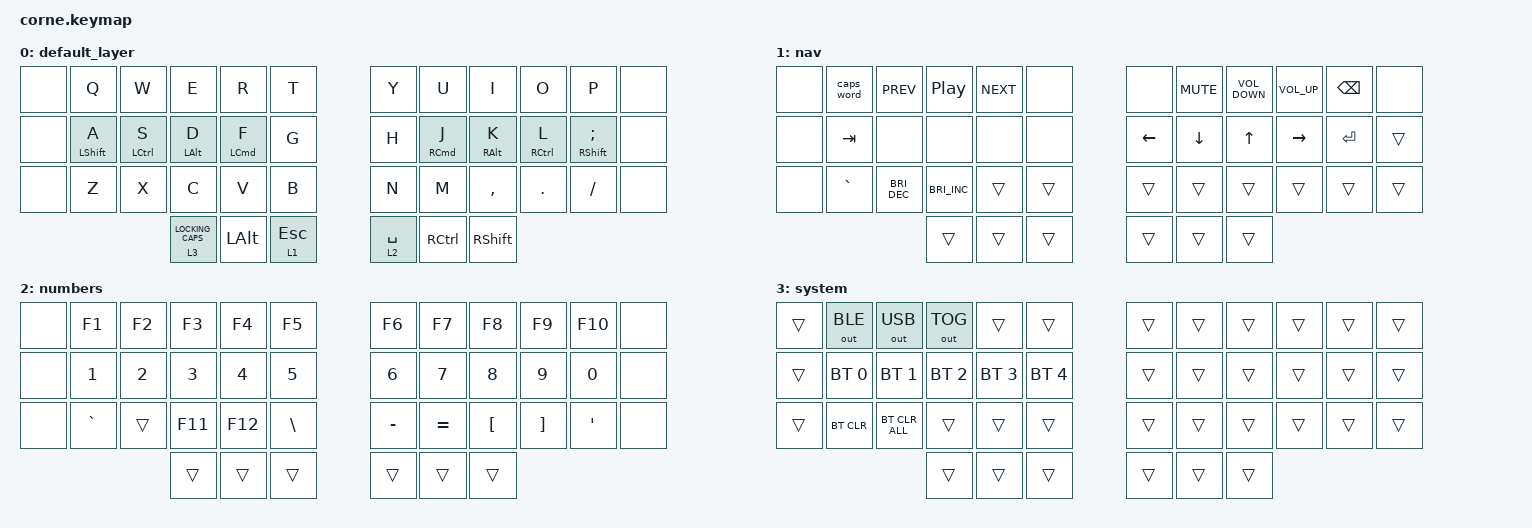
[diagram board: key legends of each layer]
/*
 * Copyright (c) 2020 The ZMK Contributors
 *
 * SPDX-License-Identifier: MIT
 */

#include <behaviors.dtsi>
#include <dt-bindings/zmk/bt.h>
#include <dt-bindings/zmk/keys.h>
#include <dt-bindings/zmk/outputs.h>

/ {
    behaviors {
        homey_left: homey_left {
            compatible = "zmk,behavior-hold-tap";
            label = "HOME_ROW_MODS_LEFT_HAND";
            bindings = <&kp>, <&kp>;

            flavor = "tap-preferred";
            #binding-cells = <2>;
            tapping-term-ms = <270>;
            hold-trigger-on-release;
            quick-tap-ms = <300>;
            require-prior-idle-ms = <170>;
            hold-trigger-key-positions = <39 40 41 32 8 20 6 7 8 9 10 11 18 19 20 21 22 23 30 31 32 33 34 35>;
        };

        homey_right: homey_right {
            compatible = "zmk,behavior-hold-tap";
            label = "HOME_ROW_MODS_RIGHT_HAND";
            bindings = <&kp>, <&kp>;

            flavor = "tap-preferred";
            #binding-cells = <2>;
            tapping-term-ms = <270>;
            hold-trigger-on-release;
            quick-tap-ms = <300>;
            require-prior-idle-ms = <170>;
            hold-trigger-key-positions = <0 1 2 3 4 5 12 13 14 15 16 17 24 25 26 27 28 29 36 37 38>;
        };

        shift_left: shift_left {
            compatible = "zmk,behavior-hold-tap";
            label = "HOME_ROW_MODS_LEFT_SHIFT_SHIFT";
            bindings = <&kp>, <&kp>;

            flavor = "tap-preferred";
            #binding-cells = <2>;
            tapping-term-ms = <200>;
            quick-tap-ms = <300>;
            require-prior-idle-ms = <80>;
            hold-trigger-key-positions = <32 8 20 6 7 8 9 10 11 18 19 20 21 22 23 30 31 32 33 34 35 38 37 36 39 40 41>;
        };

        shift_right: shift_right {
            compatible = "zmk,behavior-hold-tap";
            label = "HOME_ROW_MODS_RIGHT_SHIFT_SHIFT";
            bindings = <&kp>, <&kp>;

            flavor = "tap-preferred";
            #binding-cells = <2>;
            tapping-term-ms = <200>;
            quick-tap-ms = <300>;
            require-prior-idle-ms = <80>;
            hold-trigger-key-positions = <0 1 2 3 4 5 12 13 14 15 16 17 24 25 26 27 28 29 36 37 38 39 40 41>;
        };
    };

    keymap {
        compatible = "zmk,keymap";

        default_layer {
            // -----------------------------------------------------------------------------------------
            // |  TAB |  Q  |  W  |  E  |  R  |  T  |   |  Y  |  U   |  I  |  O  |  P  | BKSP |
            // | CTRL |  A  |  S  |  D  |  F  |  G  |   |  H  |  J   |  K  |  L  |  ;  |  '   |
            // | SHFT |  Z  |  X  |  C  |  V  |  B  |   |  N  |  M   |  ,  |  .  |  /  | ESC  |
            //                    | GUI | LWR | SPC |   | ENT | RSE  | ALT |

            bindings = <
&none  &kp Q                     &kp W                       &kp E                   &kp R                       &kp T           &kp Y        &kp U                         &kp I                     &kp O                         &kp P                               &none
&none  &shift_left LEFT_SHIFT A  &homey_left LEFT_CONTROL S  &homey_left LEFT_ALT D  &homey_left LEFT_COMMAND F  &kp G           &kp H        &homey_right RIGHT_COMMAND J  &homey_right RIGHT_ALT K  &homey_right RIGHT_CONTROL L  &shift_right RIGHT_SHIFT SEMICOLON  &none
&none  &kp Z                     &kp X                       &kp C                   &kp V                       &kp B           &kp N        &kp M                         &kp COMMA                 &kp DOT                       &kp FSLH                            &none
                                                             &lt 3 LOCKING_CAPS      &kp LEFT_ALT                &lt 1 ESCAPE    &lt 2 SPACE  &kp RIGHT_CONTROL             &kp RIGHT_SHIFT
            >;
        };

        nav {
            // -----------------------------------------------------------------------------------------
            // |  TAB |  1  |  2  |  3  |  4  |  5  |   |  6  |  7  |  8  |  9  |  0  | BKSP |
            // | BTCLR| BT1 | BT2 | BT3 | BT4 | BT5 |   | LFT | DWN |  UP | RGT |     |      |
            // | SHFT |     |     |     |     |     |   |     |     |     |     |     |      |
            //                    | GUI |     | SPC |   | ENT |     | ALT |

            bindings = <
&none  &caps_word  &kp C_PREV            &kp C_PLAY_PAUSE      &kp C_NEXT  &none     &none     &kp K_MUTE  &kp C_VOLUME_DOWN  &kp C_VOLUME_UP  &kp BACKSPACE  &none
&none  &kp TAB     &none                 &none                 &none       &none     &kp LEFT  &kp DOWN    &kp UP             &kp RIGHT        &kp ENTER      &trans
&none  &kp GRAVE   &kp C_BRIGHTNESS_DEC  &kp C_BRIGHTNESS_INC  &trans      &trans    &trans    &trans      &trans             &trans           &trans         &trans
                                         &trans                &trans      &trans    &trans    &trans      &trans
            >;
        };

        numbers {
            // -----------------------------------------------------------------------------------------
            // |  TAB |  !  |  @  |  #  |  $  |  %  |   |  ^  |  &  |  *  |  (  |  )  | BKSP |
            // | CTRL |     |     |     |     |     |   |  -  |  =  |  [  |  ]  |  \  |  `   |
            // | SHFT |     |     |     |     |     |   |  _  |  +  |  {  |  }  | "|" |  ~   |
            //                    | GUI |     | SPC |   | ENT |     | ALT |

            bindings = <
&none  &kp F1        &kp F2        &kp F3        &kp F4        &kp F5           &kp F6        &kp F7        &kp F8            &kp F9             &kp F10       &none
&none  &kp NUMBER_1  &kp NUMBER_2  &kp NUMBER_3  &kp NUMBER_4  &kp N5           &kp NUMBER_6  &kp NUMBER_7  &kp N8            &kp N9             &kp NUMBER_0  &none
&none  &kp GRAVE     &trans        &kp F11       &kp F12       &kp BACKSLASH    &kp MINUS     &kp EQUAL     &kp LEFT_BRACKET  &kp RIGHT_BRACKET  &kp SQT       &none
                                   &trans        &trans        &trans           &trans        &trans        &trans
            >;
        };

        system {
            bindings = <
&trans  &out OUT_BLE  &out OUT_USB    &out OUT_TOG  &trans        &trans          &trans  &trans  &trans  &trans  &trans  &trans
&trans  &bt BT_SEL 0  &bt BT_SEL 1    &bt BT_SEL 2  &bt BT_SEL 3  &bt BT_SEL 4    &trans  &trans  &trans  &trans  &trans  &trans
&trans  &bt BT_CLR    &bt BT_CLR_ALL  &trans        &trans        &trans          &trans  &trans  &trans  &trans  &trans  &trans
                                      &trans        &trans        &trans          &trans  &trans  &trans
            >;
        };
    };
};
